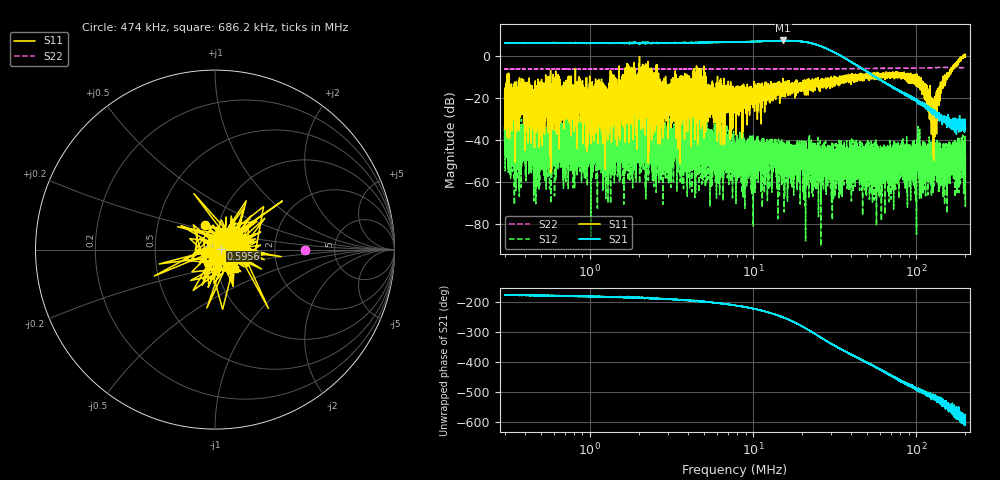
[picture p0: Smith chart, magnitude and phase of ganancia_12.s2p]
# Hz S DB R 50
! CMT, M5065, 19127446, 24.2.4/2
! Date: 11/1/2024 3:13:49 PM
! Data: Format (Calibration Info)
! Freq	S11:dB/Ang(F2)	S21:dB/Ang(F2)	S12:dB/Ang(F2)	S22:dB/Ang(F2)
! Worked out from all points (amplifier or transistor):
!   9000 points, 300 kHz to 200 MHz, reference 50 ohm
!   highest |S21| = 7.5 dB at 15.26 MHz (marker M1)
!   |S21| within 3 dB of that: start of sweep to 26.55 MHz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
!   unconditionally stable (mu >= 1): start of sweep to 2.012 MHz; 2.012 MHz to 193.8 MHz; 194.832 MHz to 195.3204 MHz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
!   at 886.8 kHz: K = 17.82, MAG = 7.6 dB, |S12| = -39.9 dB
!   at 7.749 MHz: K = 29.49, MAG = 8.2 dB, |S12| = -45.0 dB
!   at 200 MHz: K = -510.01, MSG = 6.3 dB, |S12| = -46.9 dB
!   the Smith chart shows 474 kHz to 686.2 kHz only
!   S11 on the Smith chart (normalised r, x): 474 kHz: 0.86, +0.24; 595.6 kHz: 1.07, +0.01; 686.2 kHz: 1.21, -0.26
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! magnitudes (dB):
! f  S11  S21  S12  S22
! 300 kHz  -20.1  6.3  -40.2  -6.0
! 474 kHz  -16.6  6.4  -41.2  -6.0
! 595.6 kHz  -29.8  6.3  -48.6  -6.1
! 686.2 kHz  -16.3  6.3  -42.0  -6.0
! 886.8 kHz  -20.5  6.3  -39.9  -6.0
! 1.233 MHz  -16.5  6.3  -43.7  -6.1
! 1.399 MHz  -22.4  6.2  -51.6  -6.0
! 1.493 MHz  -30.8  6.3  -32.4  -6.1
! 2.127 MHz  -14.2  6.2  -50.0  -6.0
! 2.621 MHz  -23.1  6.3  -46.4  -6.0
! 3.073 MHz  -15.1  6.3  -40.5  -6.0
! 4.639 MHz  -27.5  6.5  -41.2  -6.0
! 5.708 MHz  -18.6  6.7  -42.9  -6.0
! 7.749 MHz  -15.1  6.8  -45.0  -6.0
! 15.26 MHz  -10.6  7.5  -45.4  -6.0
! 22.91 MHz  -14.5  6.1  -44.8  -6.0
! 67.71 MHz  -8.2  -13.5  -48.8  -5.7
! 103.8 MHz  -10.8  -22.0  -50.6  -5.6
! 116.3 MHz  -21.1  -25.0  -52.2  -5.5
! 126.9 MHz  -38.1  -27.3  -54.3  -5.4
! 146.9 MHz  -13.1  -30.0  -43.4  -5.3
! 200 MHz  0.5  -34.2  -46.9  -5.4
